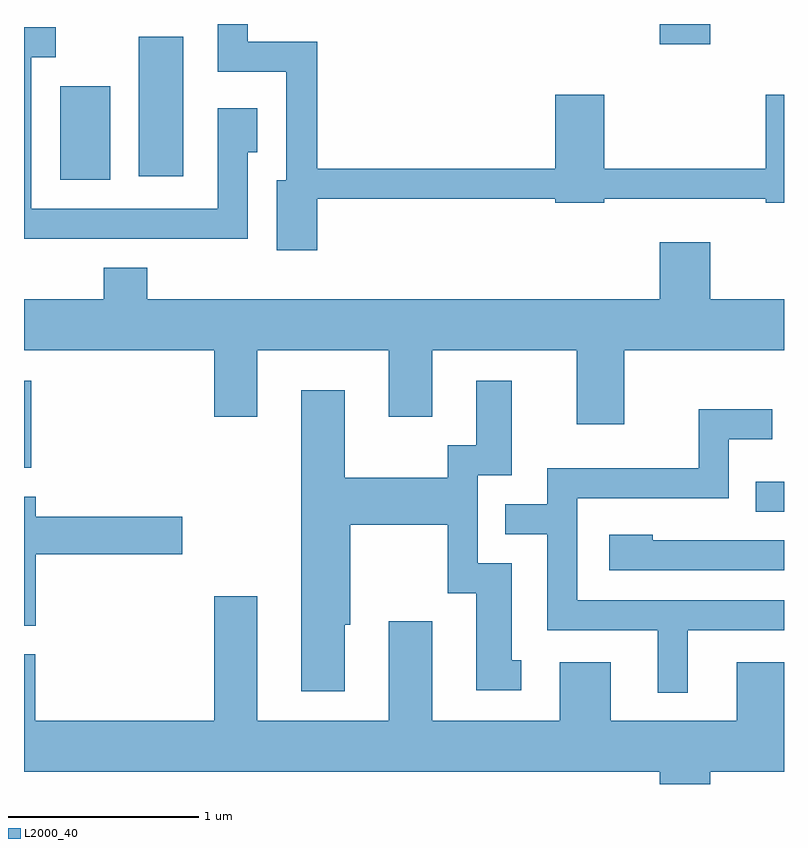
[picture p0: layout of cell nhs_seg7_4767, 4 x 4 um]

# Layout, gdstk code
import gdstk
lib = gdstk.Library(unit=1e-6, precision=1e-09)
def R(c, l, rs):  # rectangles x0, y0, x1, y1
    for r in rs: c.add(gdstk.rectangle(r[:2], r[2:], *l))
def P(c, l, *ps):  # polygons
    for p in ps: c.add(gdstk.Polygon(p, *l))
L2000_40 = (2000, 40)

nhs_seg7_4767 = lib.new_cell('nhs_seg7_4767')
R(nhs_seg7_4767, L2000_40, [(335.463,1715.686,335.611,1715.844), (331.611,1715.916,331.649,1716.374), (331.801,1717.431,332.064,1717.924), (332.216,1717.451,332.449,1718.184), (334.956,1718.146,335.224,1718.252)])
P(nhs_seg7_4767, L2000_40, [(333.154,1717.331),(334.406,1717.331),(334.406,1717.311),(334.664,1717.311),(334.664,1717.331),(335.516,1717.331),(335.516,1717.311),(335.611,1717.311),(335.611,1717.879),(335.516,1717.879),(335.516,1717.489),(334.664,1717.489),(334.664,1717.879),(334.406,1717.879),(334.406,1717.489),(333.154,1717.489),(333.154,1718.159),(332.789,1718.159),(332.789,1718.252),(332.631,1718.252),(332.631,1718.001),(332.991,1718.001),(332.991,1717.429),(332.941,1717.429),(332.941,1717.061),(333.154,1717.061)],
  [(332.789,1717.576),(332.839,1717.576),(332.839,1717.809),(332.631,1717.809),(332.631,1717.279),(331.649,1717.279),(331.649,1718.076),(331.778,1718.076),(331.778,1718.234),(331.611,1718.234),(331.611,1717.121),(332.789,1717.121)],
  [(334.769,1716.536),(335.611,1716.536),(335.611,1716.804),(335.224,1716.804),(335.224,1717.104),(334.956,1717.104),(334.956,1716.804),(332.259,1716.804),(332.259,1716.969),(332.031,1716.969),(332.031,1716.804),(331.611,1716.804),(331.611,1716.536),(332.611,1716.536),(332.611,1716.186),(332.839,1716.186),(332.839,1716.536),(333.531,1716.536),(333.531,1716.186),(333.759,1716.186),(333.759,1716.536),(334.521,1716.536),(334.521,1716.146),(334.769,1716.146)],
  [(333.299,1715.091),(333.329,1715.091),(333.329,1715.616),(333.841,1715.616),(333.841,1715.256),(333.991,1715.256),(333.991,1714.746),(334.228,1714.746),(334.228,1714.904),(334.179,1714.904),(334.179,1715.414),(333.999,1715.414),(333.999,1715.876),(334.179,1715.876),(334.179,1716.374),(333.991,1716.374),(333.991,1716.034),(333.841,1716.034),(333.841,1715.864),(333.299,1715.864),(333.299,1716.324),(333.071,1716.324),(333.071,1714.741),(333.299,1714.741)],
  [(335.104,1715.061),(335.611,1715.061),(335.611,1715.219),(334.524,1715.219),(334.524,1715.756),(335.319,1715.756),(335.319,1716.066),(335.548,1716.066),(335.548,1716.224),(335.161,1716.224),(335.161,1715.914),(334.366,1715.914),(334.366,1715.724),(334.143,1715.724),(334.143,1715.566),(334.366,1715.566),(334.366,1715.061),(334.946,1715.061),(334.946,1714.733),(335.104,1714.733)],
  [(331.674,1715.461),(332.444,1715.461),(332.444,1715.659),(331.674,1715.659),(331.674,1715.764),(331.611,1715.764),(331.611,1715.086),(331.674,1715.086)],
  [(335.611,1715.534),(334.919,1715.534),(334.919,1715.564),(334.691,1715.564),(334.691,1715.376),(335.611,1715.376)],
  [(335.224,1714.316),(335.611,1714.316),(335.611,1714.894),(335.361,1714.894),(335.361,1714.584),(334.699,1714.584),(334.699,1714.894),(334.431,1714.894),(334.431,1714.584),(333.759,1714.584),(333.759,1715.109),(333.531,1715.109),(333.531,1714.584),(332.839,1714.584),(332.839,1715.239),(332.611,1715.239),(332.611,1714.584),(331.669,1714.584),(331.669,1714.934),(331.611,1714.934),(331.611,1714.316),(334.956,1714.316),(334.956,1714.252),(335.224,1714.252)])

lib.write_gds('nhs_seg7_4767.gds')
